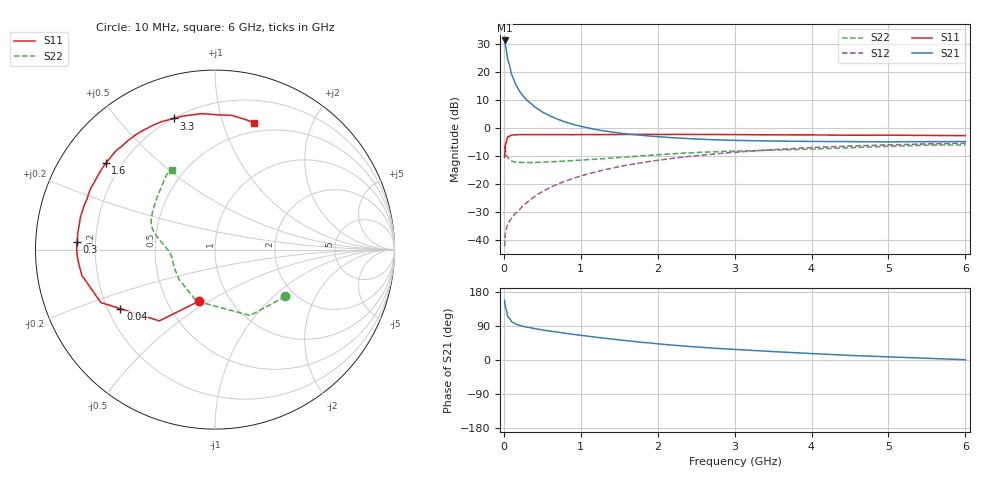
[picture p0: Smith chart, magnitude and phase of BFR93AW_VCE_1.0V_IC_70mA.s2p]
! (c) 2017  Infineon Technologies AG, Munich
! Infineon Technologies  Discrete & RF Semiconductors
! BFR93AW
! VCE =  1.0 V,  IC =  70 mA
! Common Emitter S-Parameters:  Jan 2017
# GHz  S  MA  R  50
!  f  S11  S21  S12  S22
! GHz  MAG  ANG  MAG  ANG  MAG  ANG  MAG  ANG
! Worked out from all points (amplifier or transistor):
!   77 points, 10 MHz to 6 GHz, reference 50 ohm
!   highest |S21| = 31.4 dB at 10 MHz (marker M1)
!   |S21| within 3 dB of that: start of sweep to 29.11 MHz
!   unconditionally stable (mu >= 1): start of sweep to 13.98 MHz; 97.31 MHz to end of sweep
!   at 130 MHz: K = 1.12, MAG = 22.1 dB, |S12| = -31.1 dB
!   at 2.2 GHz: K = 1.24, MAG = 0.8 dB, |S12| = -10.7 dB
!   at 6 GHz: K = 1.07, MAG = -1.3 dB, |S12| = -5.3 dB
!   S11 on the Smith chart (normalised r, x): 10 MHz: 0.71, -0.45; 40 MHz: 0.25, -0.27; 300 MHz: 0.13, +0.03; 1.6 GHz: 0.14, +0.34; 3.3 GHz: 0.20, +0.71; 6 GHz: 0.41, +1.27
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0.01  0.3029 -107.6  37.14 157.0  0.0078 55.8  0.4709 -33.7
0.02  0.5039 -128.0  30.93 139.8  0.0134 49.7  0.4159 -62.0
0.04  0.6215 -148.0  21.17 126.4  0.0174 43.3  0.3138 -90.7
0.05  0.7009 -155.1  17.09 114.3  0.0194 41.1  0.3051 -109.8
0.1  0.7555 -169.0  9.201 100.9  0.0247 46.0  0.2603 -140.4
0.15  0.7646 -174.8  6.229 95.3  0.03 51.9  0.2493 -153.0
0.2  0.7694 -178.2  4.702 91.7  0.0347 56.6  0.2461 -159.7
0.25  0.7709 178.9  3.784 88.8  0.0412 60.1  0.2441 -164.0
0.3  0.7691 176.7  3.167 86.7  0.0471 63.3  0.2434 -167.2
0.4  0.7702 172.9  2.414 82.7  0.0601 66.2  0.2449 -170.9
0.5  0.7688 169.6  1.956 79.4  0.0737 67.3  0.2478 -173.6
0.6  0.7711 166.7  1.662 76.3  0.0874 68.0  0.2519 -175.6
0.8  0.7693 161.1  1.296 70.5  0.1138 68.2  0.2589 -178.7
0.9  0.7667 158.4  1.173 67.8  0.1268 67.4  0.2639 179.9
1.1  0.772 153.3  1.011 62.7  0.1535 66.1  0.2751 177.3
1.6  0.7762 141.6  0.792 50.9  0.2187 60.5  0.3067 171.2
2.1  0.776 130.3  0.692 40.9  0.2789 53.9  0.3433 165.6
3.1  0.7696 111.0  0.604 26.8  0.3805 40.5  0.3935 154.3
3.3  0.7659 107.4  0.597 24.5  0.3973 37.9  0.3996 151.7
4.1  0.7584 94.3  0.581 16.0  0.4578 27.8  0.4293 139.6
5.1  0.7512 81.8  0.572 7.5  0.5088 16.2  0.4802 126.0
6  0.7381 72.8  0.578 0.8  0.5406 7.2  0.5048 118.4
